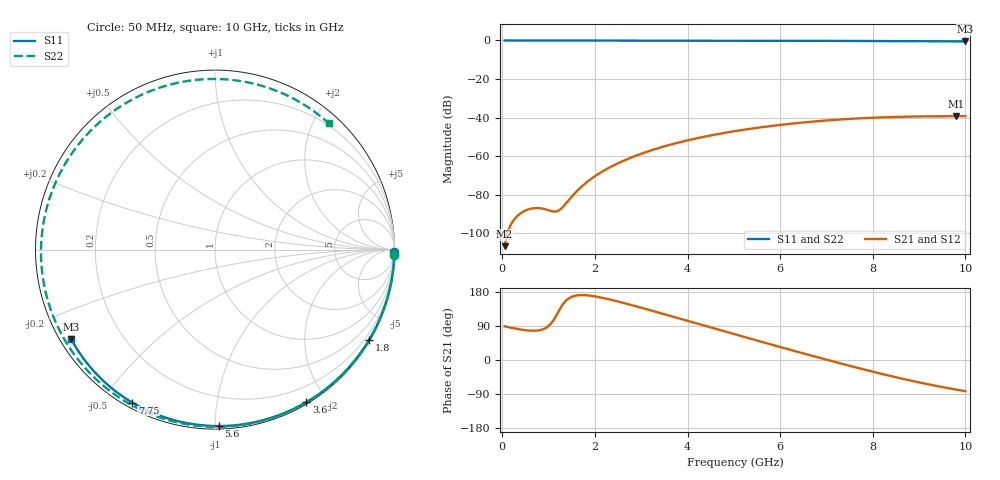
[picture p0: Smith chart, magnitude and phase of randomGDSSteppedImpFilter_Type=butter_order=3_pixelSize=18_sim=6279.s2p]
! freq	dB(S11)	phase(S11)	dB(S12)	phase(S12)
!  dB(S21)	phase(S21)	dB(S22)	phase(S22)
!S-par simulation data
#  GHz  S  DB  R 50
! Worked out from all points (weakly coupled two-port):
!   200 points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, 50 MHz to 10 GHz, reference 50 ohm
!   highest |S21| = -39.25 dB at 9.8 GHz (marker M1); lowest = -106.6 dB at 50 MHz (marker M2)
!   lowest |S11| = -0.5 dB at 10 GHz (marker M3), VSWR 34.65, Z = 1.56 - j14.3 ohm
!   |S11| at or under -10 dB: nowhere
!   |S22| runs from -0.5 to 0.0 dB; largest |S21 - S12| = 0
!   S11 on the Smith chart (normalised r, x): 50 MHz: open; 1.8 GHz: 0.03, -3.69; 3.6 GHz: 0.02, -1.76; 5.6 GHz: 0.02, -1.02; 7.75 GHz: 0.02, -0.60; 10 GHz: 0.03, -0.29
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0.05  -0.00 -0.9  -106.59 88.9  -106.59 88.9  -0.00 -1.8
0.75  -0.02 -12.8  -86.82 77.7  -86.82 77.7  -0.03 -26.4
1.5  -0.03 -25.3  -80.89 166.8  -80.89 166.8  -0.07 -52.1
1.55  -0.03 -26.2  -79.56 168.9  -79.56 168.9  -0.07 -53.8
1.75  -0.04 -29.5  -74.92 171.2  -74.92 171.2  -0.08 -60.4
1.8  -0.04 -30.3  -73.92 170.9  -73.92 170.9  -0.08 -62.1
2.1  -0.04 -35.2  -68.79 165.6  -68.79 165.6  -0.09 -71.8
2.45  -0.05 -40.9  -64.18 155.9  -64.18 155.9  -0.10 -82.9
2.9  -0.06 -48.1  -59.57 141.4  -59.57 141.4  -0.12 -96.9
3.4  -0.07 -56.0  -55.56 124.2  -55.56 124.2  -0.14 -111.9
3.6  -0.08 -59.1  -54.19 117.3  -54.19 117.3  -0.15 -117.7
4.35  -0.10 -70.6  -49.92 91.0  -49.92 91.0  -0.18 -139.4
5.05  -0.12 -80.9  -46.88 66.7  -46.88 66.7  -0.22 -159.1
5.6  -0.15 -88.8  -44.95 47.8  -44.95 47.8  -0.26 -174.7
6.15  -0.17 -96.6  -43.35 29.1  -43.35 29.1  -0.29 169.6
6.7  -0.20 -104.2  -42.05 10.8  -42.05 10.8  -0.33 153.6
7.2  -0.23 -111.0  -41.11 -5.6  -41.11 -5.6  -0.36 138.6
7.75  -0.27 -118.3  -40.32 -23.1  -40.32 -23.1  -0.40 121.6
8.35  -0.32 -126.3  -39.73 -41.2  -39.73 -41.2  -0.43 102.4
9.05  -0.39 -135.6  -39.36 -60.4  -39.36 -60.4  -0.45 79.5
9.8  -0.48 -145.5  -39.25 -78.1  -39.25 -78.1  -0.47 54.6
10  -0.50 -148.2  -39.26 -82.2  -39.26 -82.2  -0.47 48.0
